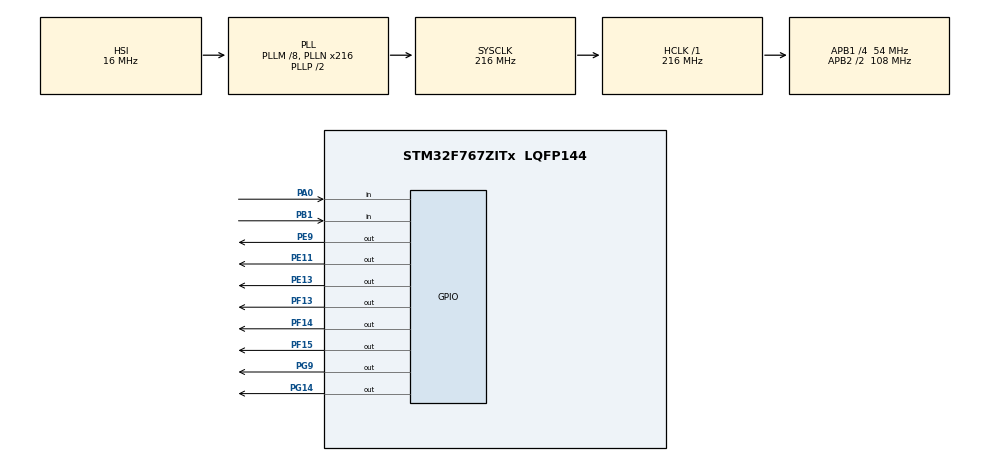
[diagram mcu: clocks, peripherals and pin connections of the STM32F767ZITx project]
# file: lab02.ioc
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CORTEX_M7.default_mode_Activation=1
Mcu.Family=STM32F7
Mcu.Name=STM32F767ZITx
Mcu.Package=LQFP144
NVIC.PriorityGroup=NVIC_PRIORITYGROUP_4
PA0/WKUP.Signal=GPIO_Input
PB1.Signal=GPIO_Input
PE11.Signal=GPIO_Output
PE13.Signal=GPIO_Output
PE9.Signal=GPIO_Output
PF13.Signal=GPIO_Output
PF14.Signal=GPIO_Output
PF15.Signal=GPIO_Output
PG14.Signal=GPIO_Output
PG9.Signal=GPIO_Output
ProjectManager.HeapSize=0x200
ProjectManager.StackSize=0x400
ProjectManager.TargetToolchain=STM32CubeIDE
RCC.AHBFreq_Value=216000000
RCC.APB1CLKDivider=RCC_HCLK_DIV4
RCC.APB1Freq_Value=54000000
RCC.APB1TimFreq_Value=108000000
RCC.APB2CLKDivider=RCC_HCLK_DIV2
RCC.APB2Freq_Value=108000000
RCC.APB2TimFreq_Value=216000000
RCC.CortexFreq_Value=216000000
RCC.HCLKFreq_Value=216000000
RCC.HSE_VALUE=25000000
RCC.HSI_VALUE=16000000
RCC.LSE_VALUE=32768
RCC.PLLM=8
RCC.PLLN=216
RCC.SYSCLKFreq_VALUE=216000000
RCC.SYSCLKSource=RCC_SYSCLKSOURCE_PLLCLK
RCC.USBFreq_Value=216000000
RCC.VCOOutputFreq_Value=432000000
board=custom

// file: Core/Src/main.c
/* USER CODE BEGIN Header */
/**
  ******************************************************************************
  * @file           : main.c
  * @brief          : Main program body
  ******************************************************************************
  * @attention
  *
  * Copyright (c) 2025 STMicroelectronics.
  * All rights reserved.
  *
  * This software is licensed under terms that can be found in the LICENSE file
  * in the root directory of this software component.
  * If no LICENSE file comes with this software, it is provided AS-IS.
  *
  ******************************************************************************
  */
/* USER CODE END Header */
#include "main.h"

/* USER CODE BEGIN PV */
uint8_t ledIndex = 8;
uint16_t led[] = {
    GPIO_PIN_9,
    GPIO_PIN_14,
    GPIO_PIN_15,
    GPIO_PIN_13,
    GPIO_PIN_14,
    GPIO_PIN_11,
    GPIO_PIN_9,
    GPIO_PIN_13
};
GPIO_TypeDef * pin[] = {
		GPIOG,
		GPIOG,
		GPIOF,
		GPIOE,
		GPIOF,
		GPIOE,
		GPIOE,
		GPIOF,
};
uint8_t isPress = 0;
/* USER CODE END PV */

void SystemClock_Config(void);
static void MPU_Config(void);
static void MX_GPIO_Init(void);

int main(void)
{

  /* MPU Configuration--------------------------------------------------------*/
  MPU_Config();

  /* MCU Configuration--------------------------------------------------------*/

  /* Reset of all peripherals, Initializes the Flash interface and the Systick. */
  HAL_Init();

  /* Configure the system clock */
  SystemClock_Config();

  /* Initialize all configured peripherals */
  MX_GPIO_Init();

  /* Infinite loop */
  while (1)
  {

    /* USER CODE BEGIN 3 */
	 if(isPress == 1)
		 if(HAL_GPIO_ReadPin(GPIOB, GPIO_PIN_1) == GPIO_PIN_SET)
			 isPress = 0;
	 if(isPress == 0)
	 if(HAL_GPIO_ReadPin(GPIOB, GPIO_PIN_1) == GPIO_PIN_RESET)
	 {
		 uint8_t lastIndex = ledIndex;
		 ledIndex++;
		 if(ledIndex >= 8)
			 ledIndex = 0;
//		 HAL_GPIO_WritePin(GPIOG, , GPIO_PIN_SET);
	     HAL_GPIO_WritePin(pin[ledIndex], led[ledIndex], GPIO_PIN_SET);
//	     HAL_Delay(1000);
	     if(lastIndex < 8)
	    	 HAL_GPIO_WritePin(pin[lastIndex], led[lastIndex], GPIO_PIN_RESET);
	     isPress = 1;
	 }
	 if(HAL_GPIO_ReadPin(GPIOA, GPIO_PIN_0) == GPIO_PIN_RESET)
	 {
	     if(ledIndex > 7)
	     {
	         for(int i = 0; i <= 8; i++)
	         {
	             if(7-i >= 0)
	                 HAL_GPIO_WritePin(pin[7-i], led[7-i], GPIO_PIN_SET);
	             if(8-i < 8)
	                 HAL_GPIO_WritePin(pin[8-i], led[8-i], GPIO_PIN_RESET);
	    	     HAL_Delay(300);
	         }
	     }
	     else
	     {
	         for(int i = 0; i < 8; i++)
	         {
	             uint8_t lastIndex = ledIndex;
	             if(ledIndex <= 0)
	            	 ledIndex = 8;
	             ledIndex--;
	             HAL_GPIO_WritePin(pin[lastIndex], led[lastIndex], GPIO_PIN_RESET);
	             HAL_GPIO_WritePin(pin[ledIndex], led[ledIndex], GPIO_PIN_SET);
	    	     HAL_Delay(300);
	         }
	     }
	 }
  }
  /* USER CODE END 3 */
}

void SystemClock_Config(void)
{
  RCC_OscInitTypeDef RCC_OscInitStruct = {0};
  RCC_ClkInitTypeDef RCC_ClkInitStruct = {0};

  /** Configure the main internal regulator output voltage
  */
  __HAL_RCC_PWR_CLK_ENABLE();
  __HAL_PWR_VOLTAGESCALING_CONFIG(PWR_REGULATOR_VOLTAGE_SCALE1);

  /** Initializes the RCC Oscillators according to the specified parameters
  * in the RCC_OscInitTypeDef structure.
  */
  RCC_OscInitStruct.OscillatorType = RCC_OSCILLATORTYPE_HSI;
  RCC_OscInitStruct.HSIState = RCC_HSI_ON;
  RCC_OscInitStruct.HSICalibrationValue = RCC_HSICALIBRATION_DEFAULT;
  RCC_OscInitStruct.PLL.PLLState = RCC_PLL_ON;
  RCC_OscInitStruct.PLL.PLLSource = RCC_PLLSOURCE_HSI;
  RCC_OscInitStruct.PLL.PLLM = 8;
  RCC_OscInitStruct.PLL.PLLN = 216;
  RCC_OscInitStruct.PLL.PLLP = RCC_PLLP_DIV2;
  RCC_OscInitStruct.PLL.PLLQ = 2;
  RCC_OscInitStruct.PLL.PLLR = 2;
  if (HAL_RCC_OscConfig(&RCC_OscInitStruct) != HAL_OK)
  {
    Error_Handler();
  }

  /** Activate the Over-Drive mode
  */
  if (HAL_PWREx_EnableOverDrive() != HAL_OK)
  {
    Error_Handler();
  }

  /** Initializes the CPU, AHB and APB buses clocks
  */
  RCC_ClkInitStruct.ClockType = RCC_CLOCKTYPE_HCLK|RCC_CLOCKTYPE_SYSCLK
                              |RCC_CLOCKTYPE_PCLK1|RCC_CLOCKTYPE_PCLK2;
  RCC_ClkInitStruct.SYSCLKSource = RCC_SYSCLKSOURCE_PLLCLK;
  RCC_ClkInitStruct.AHBCLKDivider = RCC_SYSCLK_DIV1;
  RCC_ClkInitStruct.APB1CLKDivider = RCC_HCLK_DIV4;
  RCC_ClkInitStruct.APB2CLKDivider = RCC_HCLK_DIV2;

  if (HAL_RCC_ClockConfig(&RCC_ClkInitStruct, FLASH_LATENCY_7) != HAL_OK)
  {
    Error_Handler();
  }
}

static void MX_GPIO_Init(void)
{
  GPIO_InitTypeDef GPIO_InitStruct = {0};

  /* GPIO Ports Clock Enable */
  __HAL_RCC_GPIOA_CLK_ENABLE();
  __HAL_RCC_GPIOB_CLK_ENABLE();
  __HAL_RCC_GPIOF_CLK_ENABLE();
  __HAL_RCC_GPIOE_CLK_ENABLE();
  __HAL_RCC_GPIOG_CLK_ENABLE();

  /*Configure GPIO pin Output Level */
  HAL_GPIO_WritePin(GPIOF, GPIO_PIN_13|GPIO_PIN_14|GPIO_PIN_15, GPIO_PIN_RESET);

  /*Configure GPIO pin Output Level */
  HAL_GPIO_WritePin(GPIOE, GPIO_PIN_9|GPIO_PIN_11|GPIO_PIN_13, GPIO_PIN_RESET);

  /*Configure GPIO pin Output Level */
  HAL_GPIO_WritePin(GPIOG, GPIO_PIN_9|GPIO_PIN_14, GPIO_PIN_RESET);

  /*Configure GPIO pin : PA0 */
  GPIO_InitStruct.Pin = GPIO_PIN_0;
  GPIO_InitStruct.Mode = GPIO_MODE_INPUT;
  GPIO_InitStruct.Pull = GPIO_NOPULL;
  HAL_GPIO_Init(GPIOA, &GPIO_InitStruct);

  /*Configure GPIO pin : PB1 */
  GPIO_InitStruct.Pin = GPIO_PIN_1;
  GPIO_InitStruct.Mode = GPIO_MODE_INPUT;
  GPIO_InitStruct.Pull = GPIO_NOPULL;
  HAL_GPIO_Init(GPIOB, &GPIO_InitStruct);

  /*Configure GPIO pins : PF13 PF14 PF15 */
  GPIO_InitStruct.Pin = GPIO_PIN_13|GPIO_PIN_14|GPIO_PIN_15;
  GPIO_InitStruct.Mode = GPIO_MODE_OUTPUT_PP;
  GPIO_InitStruct.Pull = GPIO_NOPULL;
  GPIO_InitStruct.Speed = GPIO_SPEED_FREQ_LOW;
  HAL_GPIO_Init(GPIOF, &GPIO_InitStruct);

  /*Configure GPIO pins : PE9 PE11 PE13 */
  GPIO_InitStruct.Pin = GPIO_PIN_9|GPIO_PIN_11|GPIO_PIN_13;
  GPIO_InitStruct.Mode = GPIO_MODE_OUTPUT_PP;
  GPIO_InitStruct.Pull = GPIO_NOPULL;
  GPIO_InitStruct.Speed = GPIO_SPEED_FREQ_LOW;
  HAL_GPIO_Init(GPIOE, &GPIO_InitStruct);

  /*Configure GPIO pins : PG9 PG14 */
  GPIO_InitStruct.Pin = GPIO_PIN_9|GPIO_PIN_14;
  GPIO_InitStruct.Mode = GPIO_MODE_OUTPUT_PP;
  GPIO_InitStruct.Pull = GPIO_NOPULL;
  GPIO_InitStruct.Speed = GPIO_SPEED_FREQ_LOW;
  HAL_GPIO_Init(GPIOG, &GPIO_InitStruct);

}

 /* MPU Configuration */

void MPU_Config(void)
{
  MPU_Region_InitTypeDef MPU_InitStruct = {0};

  /* Disables the MPU */
  HAL_MPU_Disable();

  /** Initializes and configures the Region and the memory to be protected
  */
  MPU_InitStruct.Enable = MPU_REGION_ENABLE;
  MPU_InitStruct.Number = MPU_REGION_NUMBER0;
  MPU_InitStruct.BaseAddress = 0x0;
  MPU_InitStruct.Size = MPU_REGION_SIZE_4GB;
  MPU_InitStruct.SubRegionDisable = 0x87;
  MPU_InitStruct.TypeExtField = MPU_TEX_LEVEL0;
  MPU_InitStruct.AccessPermission = MPU_REGION_NO_ACCESS;
  MPU_InitStruct.DisableExec = MPU_INSTRUCTION_ACCESS_DISABLE;
  MPU_InitStruct.IsShareable = MPU_ACCESS_SHAREABLE;
  MPU_InitStruct.IsCacheable = MPU_ACCESS_NOT_CACHEABLE;
  MPU_InitStruct.IsBufferable = MPU_ACCESS_NOT_BUFFERABLE;

  HAL_MPU_ConfigRegion(&MPU_InitStruct);
  /* Enables the MPU */
  HAL_MPU_Enable(MPU_PRIVILEGED_DEFAULT);

}

void Error_Handler(void)
{
  __disable_irq();
  while (1)
  {
  }
}
